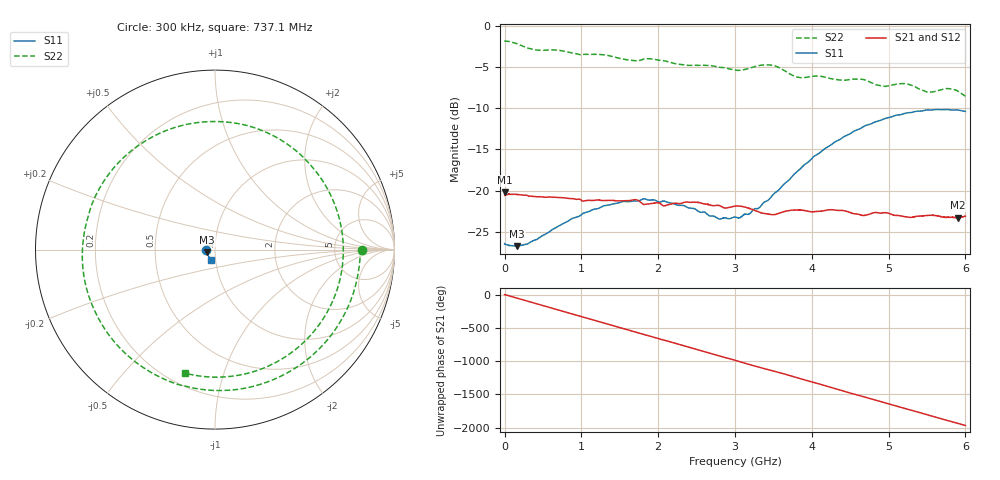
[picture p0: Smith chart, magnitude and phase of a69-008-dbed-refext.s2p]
!  3/18/2021  19:22:17
! Ref Plane: 13.288 mm
# MHZ S MA R  50
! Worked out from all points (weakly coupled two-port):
!   10001 points, 300 kHz to 6 GHz, reference 50 ohm
!   highest |S21| = -20.23 dB at 300 kHz (marker M1); lowest = -23.3 dB at 5.907 GHz (marker M2)
!   lowest |S11| = -26.8 dB at 164.1 MHz (marker M3), VSWR 1.10, Z = 45.8 - j1.32 ohm
!   |S11| at or under -10 dB: start of sweep to end of sweep
!   |S22| runs from -8.5 to -1.8 dB; largest |S21 - S12| = 0.0021
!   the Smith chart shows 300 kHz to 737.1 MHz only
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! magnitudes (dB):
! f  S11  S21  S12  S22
! 300 kHz  -26.4  -20.2  -20.4  -1.8
! 164.1 MHz  -26.8  -20.5  -20.5  -2.2
! 394.5 MHz  -26.0  -20.7  -20.7  -2.9
! 1 GHz  -22.9  -21.2  -21.2  -3.5
! 1.54 GHz  -21.3  -21.2  -21.3  -4.0
! 2.001 GHz  -21.4  -21.5  -21.5  -4.1
! 2.083 GHz  -21.3  -21.8  -21.8  -4.2
! 2.332 GHz  -21.8  -21.4  -21.5  -4.7
! 2.793 GHz  -23.4  -21.8  -21.8  -5.0
! 3 GHz  -23.2  -21.9  -21.9  -5.4
! 3.317 GHz  -22.1  -22.6  -22.6  -4.8
! 3.521 GHz  -20.3  -22.9  -22.9  -4.9
! 3.827 GHz  -17.6  -22.4  -22.4  -6.2
! 4 GHz  -16.1  -22.6  -22.6  -6.1
! 4.265 GHz  -14.4  -22.3  -22.3  -6.4
! 4.551 GHz  -12.8  -22.8  -22.8  -6.5
! 5 GHz  -11.1  -22.8  -22.8  -7.3
! 5.213 GHz  -10.6  -23.2  -23.2  -7.0
! 5.51 GHz  -10.2  -23.0  -23.0  -8.0
! 5.76 GHz  -10.1  -23.2  -23.3  -7.6
! 5.907 GHz  -10.2  -23.3  -23.3  -7.9
! 6 GHz  -10.4  -23.1  -23.1  -8.5
